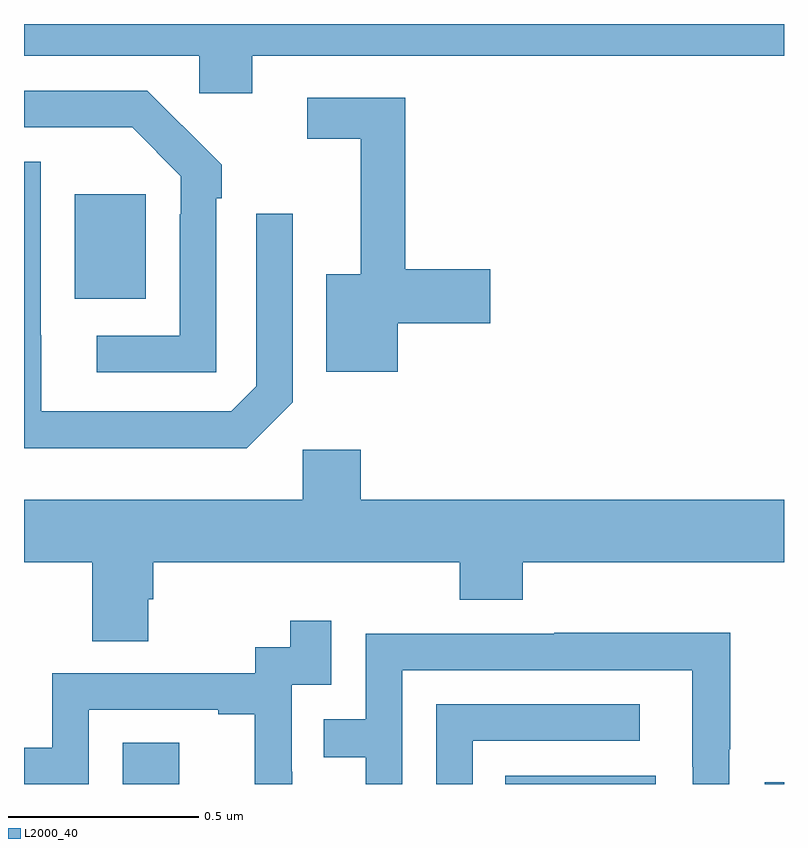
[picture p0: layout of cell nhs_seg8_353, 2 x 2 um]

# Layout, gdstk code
import gdstk
lib = gdstk.Library(unit=1e-6, precision=1e-09)
def R(c, l, rs):  # rectangles x0, y0, x1, y1
    for r in rs: c.add(gdstk.rectangle(r[:2], r[2:], *l))
def P(c, l, *ps):  # polygons
    for p in ps: c.add(gdstk.Polygon(p, *l))
L2000_40 = (2000, 40)

nhs_seg8_353 = lib.new_cell('nhs_seg8_353')
R(nhs_seg8_353, L2000_40, [(115.26,1131.9,115.408,1132.009), (116.266,1131.9,116.662,1131.922), (116.949,1131.9,117,1131.904), (115.133,1133.177,115.321,1133.452)])
P(nhs_seg8_353, L2000_40, [(115.6,1133.816),(117,1133.816),(117,1133.9),(115,1133.9),(115,1133.816),(115.461,1133.816),(115.461,1133.718),(115.6,1133.718)],
  [(115.506,1133.441),(115.521,1133.441),(115.521,1133.529),(115.416,1133.634),(115.415,1133.633),(115.324,1133.724),(115,1133.724),(115,1133.628),(115.285,1133.628),(115.413,1133.499),(115.413,1133.399),(115.41,1133.399),(115.41,1133.079),(115.191,1133.079),(115.191,1132.983),(115.506,1132.983)],
  [(115.984,1133.113),(116.227,1133.113),(116.227,1133.255),(116.003,1133.255),(116.003,1133.706),(115.746,1133.706),(115.746,1133.598),(115.886,1133.598),(115.886,1133.242),(115.796,1133.242),(115.796,1132.985),(115.984,1132.985)],
  [(115.707,1132.905),(115.707,1133.401),(115.611,1133.401),(115.611,1132.947),(115.545,1132.881),(115.045,1132.881),(115.045,1133.081),(115.044,1133.081),(115.044,1133.538),(115,1133.538),(115,1132.784),(115.586,1132.784)],
  [(115.327,1132.386),(115.34,1132.386),(115.34,1132.484),(116.147,1132.484),(116.147,1132.385),(116.312,1132.385),(116.312,1132.484),(117,1132.484),(117,1132.648),(115.886,1132.648),(115.886,1132.78),(115.734,1132.78),(115.734,1132.648),(115,1132.648),(115,1132.484),(115.18,1132.484),(115.18,1132.276),(115.327,1132.276)],
  [(115.17,1132.095),(115.511,1132.095),(115.511,1132.083),(115.607,1132.083),(115.607,1131.9),(115.706,1131.9),(115.706,1131.932),(115.704,1131.932),(115.704,1132.161),(115.809,1132.161),(115.809,1132.33),(115.701,1132.33),(115.701,1132.26),(115.608,1132.26),(115.608,1132.191),(115.074,1132.191),(115.074,1131.996),(115,1131.996),(115,1131.9),(115.17,1131.9)],
  [(115.995,1132.2),(116.759,1132.2),(116.759,1131.946),(116.76,1131.946),(116.76,1131.9),(116.856,1131.9),(116.856,1131.991),(116.859,1131.991),(116.859,1132.298),(116.395,1132.298),(116.395,1132.296),(115.899,1132.296),(115.899,1132.071),(115.789,1132.071),(115.789,1131.97),(115.899,1131.97),(115.899,1131.9),(115.995,1131.9)],
  [(116.181,1132.014),(116.62,1132.014),(116.62,1132.11),(116.085,1132.11),(116.085,1131.9),(116.181,1131.9)])

lib.write_gds('nhs_seg8_353.gds')
